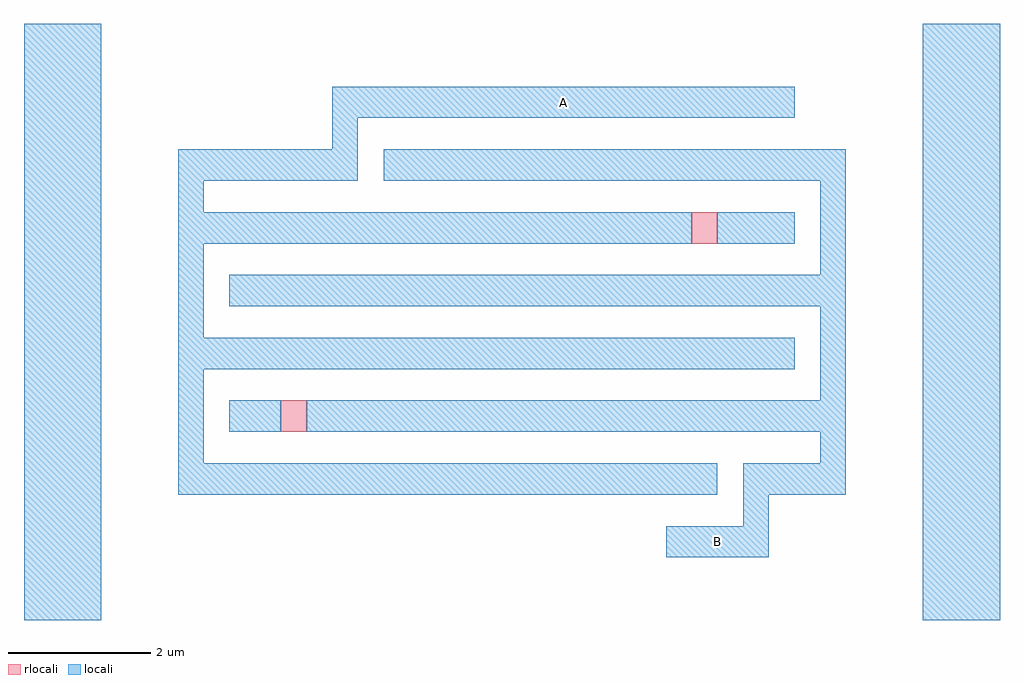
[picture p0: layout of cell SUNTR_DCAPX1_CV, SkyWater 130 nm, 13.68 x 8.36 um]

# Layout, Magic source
magic
tech sky130A
magscale 1 2
<< locali >>
rect -108 -44 108 44
rect 2412 -44 2628 44
rect -108 44 108 132
rect 2412 44 2628 132
rect -108 132 108 220
rect 1692 132 1980 220
rect 1692 132 1980 220
rect 2412 132 2628 220
rect -108 220 108 308
rect 1908 220 1980 308
rect 2412 220 2628 308
rect -108 308 108 396
rect 324 308 1836 396
rect 1908 308 2196 396
rect 2412 308 2628 396
rect -108 396 108 484
rect 324 396 396 484
rect 2124 396 2196 484
rect 2412 396 2628 484
rect -108 484 108 572
rect 324 484 396 572
rect 468 484 612 572
rect 684 484 2196 572
rect 2412 484 2628 572
rect -108 572 108 660
rect 324 572 396 660
rect 2124 572 2196 660
rect 2412 572 2628 660
rect -108 660 108 748
rect 324 660 2052 748
rect 2124 660 2196 748
rect 2412 660 2628 748
rect -108 748 108 836
rect 324 748 396 836
rect 2124 748 2196 836
rect 2412 748 2628 836
rect -108 836 108 924
rect 324 836 396 924
rect 468 836 2196 924
rect 2412 836 2628 924
rect -108 924 108 1012
rect 324 924 396 1012
rect 2124 924 2196 1012
rect 2412 924 2628 1012
rect -108 1012 108 1100
rect 324 1012 1764 1100
rect 1836 1012 2052 1100
rect 2124 1012 2196 1100
rect 2412 1012 2628 1100
rect -108 1100 108 1188
rect 324 1100 396 1188
rect 2124 1100 2196 1188
rect 2412 1100 2628 1188
rect -108 1188 108 1276
rect 324 1188 828 1276
rect 900 1188 2196 1276
rect 2412 1188 2628 1276
rect -108 1276 108 1364
rect 756 1276 828 1364
rect 2412 1276 2628 1364
rect -108 1364 108 1452
rect 756 1364 2052 1452
rect 756 1364 2052 1452
rect 2412 1364 2628 1452
rect -108 1452 108 1540
rect 2412 1452 2628 1540
rect -108 1540 108 1628
rect 2412 1540 2628 1628
<< rlocali >>
rect 612 484 684 572
rect 1764 1012 1836 1100
<< labels >>
flabel locali s 1692 132 1980 220 0 FreeSans 400 0 0 0 B
port 2 nsew
flabel locali s 756 1364 2052 1452 0 FreeSans 400 0 0 0 A
port 1 nsew
<< end >>
